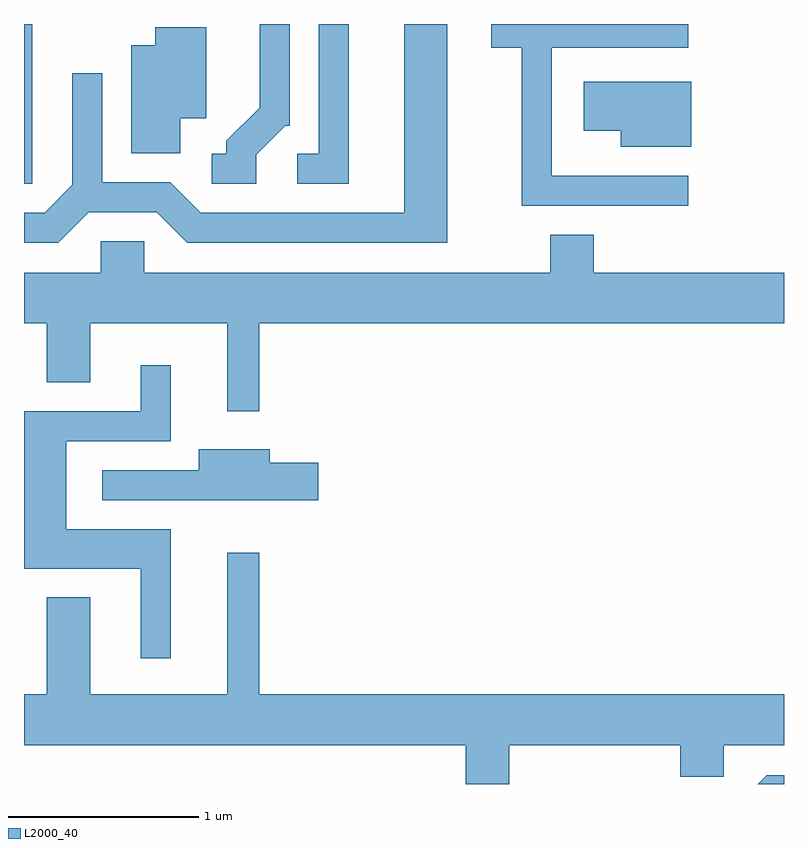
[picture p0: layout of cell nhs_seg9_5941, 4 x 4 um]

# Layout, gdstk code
import gdstk
lib = gdstk.Library(unit=1e-6, precision=1e-09)
def R(c, l, rs):  # rectangles x0, y0, x1, y1
    for r in rs: c.add(gdstk.rectangle(r[:2], r[2:], *l))
def P(c, l, *ps):  # polygons
    for p in ps: c.add(gdstk.Polygon(p, *l))
L2000_40 = (2000, 40)

nhs_seg9_5941 = lib.new_cell('nhs_seg9_5941')
R(nhs_seg9_5941, L2000_40, [(359.611,2063.591,359.654,2064.432)])
P(nhs_seg9_5941, L2000_40, [(363.108,2063.634),(362.389,2063.634),(362.389,2064.306),(363.108,2064.306),(363.108,2064.432),(362.071,2064.432),(362.071,2064.306),(362.231,2064.306),(362.231,2063.476),(363.108,2063.476)],
  [(359.952,2063.441),(360.309,2063.441),(360.469,2063.281),(361.839,2063.281),(361.839,2064.432),(361.611,2064.432),(361.611,2063.439),(360.542,2063.439),(360.382,2063.599),(360.024,2063.599),(360.024,2064.173),(359.866,2064.173),(359.866,2063.587),(359.719,2063.439),(359.611,2063.439),(359.611,2063.281),(359.792,2063.281)],
  [(360.834,2063.744),(360.987,2063.896),(361.009,2063.896),(361.009,2064.432),(360.851,2064.432),(360.851,2063.992),(360.676,2063.817),(360.676,2063.749),(360.598,2063.749),(360.598,2063.591),(360.834,2063.591)],
  [(361.319,2064.432),(361.161,2064.432),(361.161,2063.749),(361.048,2063.749),(361.048,2063.591),(361.319,2063.591)],
  [(360.434,2063.936),(360.569,2063.936),(360.569,2064.414),(360.301,2064.414),(360.301,2064.319),(360.176,2064.319),(360.176,2063.751),(360.434,2063.751)],
  [(363.124,2064.129),(362.556,2064.129),(362.556,2063.871),(362.751,2063.871),(362.751,2063.786),(363.124,2063.786)],
  [(360.849,2062.856),(363.611,2062.856),(363.611,2063.124),(362.609,2063.124),(362.609,2063.324),(362.381,2063.324),(362.381,2063.124),(360.244,2063.124),(360.244,2063.289),(360.016,2063.289),(360.016,2063.124),(359.611,2063.124),(359.611,2062.856),(359.731,2062.856),(359.731,2062.546),(359.959,2062.546),(359.959,2062.856),(360.681,2062.856),(360.681,2062.393),(360.849,2062.393)],
  [(360.384,2061.774),(359.834,2061.774),(359.834,2062.236),(360.384,2062.236),(360.384,2062.637),(360.226,2062.637),(360.226,2062.394),(359.611,2062.394),(359.611,2061.566),(360.226,2061.566),(360.226,2061.093),(360.384,2061.093)],
  [(361.159,2062.124),(360.904,2062.124),(360.904,2062.194),(360.531,2062.194),(360.531,2062.084),(360.023,2062.084),(360.023,2061.926),(361.159,2061.926)],
  [(362.164,2060.636),(363.066,2060.636),(363.066,2060.471),(363.294,2060.471),(363.294,2060.636),(363.611,2060.636),(363.611,2060.904),(360.849,2060.904),(360.849,2061.648),(360.681,2061.648),(360.681,2060.904),(359.959,2060.904),(359.959,2061.414),(359.731,2061.414),(359.731,2060.904),(359.611,2060.904),(359.611,2060.636),(361.936,2060.636),(361.936,2060.432),(362.164,2060.432)],
  [(363.611,2060.479),(363.519,2060.479),(363.472,2060.432),(363.611,2060.432)])

lib.write_gds('nhs_seg9_5941.gds')
